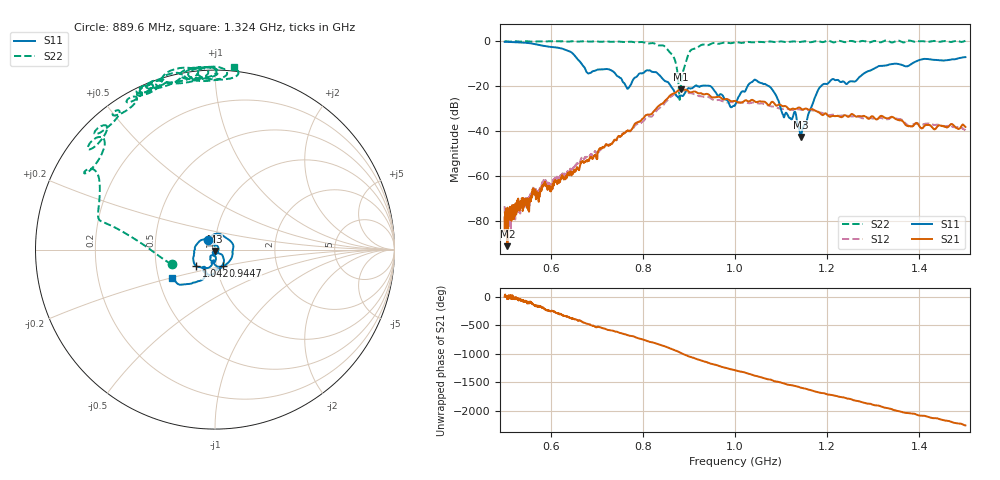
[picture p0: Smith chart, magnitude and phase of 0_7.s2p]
!Agilent Technologies,E8364B,US42250235,A.06.04.32
!Agilent E8364B: A.06.04.32
!Date: Thursday, October 01, 2020 15:44:59
!Correction: S11(Full 2 Port(1,2)) S21(Full 2 Port(1,2)) S12(Full 2 Port(1,2)) S22(Full 2 Port(1,2))
!S2P File: Measurements: S11, S21, S12, S22:
# Hz S  dB  R 50
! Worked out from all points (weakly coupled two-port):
!   2650 points, 500 MHz to 1.5 GHz, reference 50 ohm
!   highest |S21| = -21.20 dB at 882 MHz (marker M1); lowest = -91.1 dB at 506 MHz (marker M2)
!   lowest |S11| = -42.6 dB at 1.143 GHz (marker M3), VSWR 1.01, Z = 49.9 - j0.733 ohm
!   |S11| at or under -10 dB: 666.8 MHz to 1.343 GHz (676.6 MHz wide, 67.3 % of centre); 1.351 GHz to 1.383 GHz (32.48 MHz wide, 2.38 % of centre)
!   |S22| runs from -26.1 to 0.4 dB; largest |S21 - S12| = 0.037
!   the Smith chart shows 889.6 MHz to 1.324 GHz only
!   S11 on the Smith chart (normalised r, x): 889.6 MHz: 0.92, +0.10; 944.7 MHz: 1.07, -0.20; 1.042 GHz: 0.80, -0.15; 1.324 GHz: 0.59, -0.20
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5e8  -0.25 -175.0  -84.33 -2.6  -73.28 19.2  0.03 143.8
5.0604e8  -0.28 -178.2  -91.09 -20.1  -80.44 17.4  -0.06 144.9
6.140053e8  -2.78 111.4  -62.97 69.8  -61.03 65.5  -0.05 129.8
6.668554e8  -10.01 60.0  -53.76 -74.5  -52.00 -78.4  -0.04 125.4
7.302756e8  -12.81 60.9  -45.76 129.6  -45.24 118.5  -0.24 117.2
7.672707e8  -21.11 62.8  -39.69 44.1  -39.88 24.4  -0.26 107.2
8.337108e8  -14.66 -20.6  -28.87 -112.5  -30.07 -130.9  -1.81 84.7
8.642884e8  -20.93 -113.2  -23.39 157.9  -24.15 139.6  -6.12 42.8
8.82031e8  -24.14 161.1  -21.20 96.3  -21.77 75.9  -20.81 -117.4
8.89581e8  -23.65 127.1  -21.42 68.8  -21.93 45.8  -11.86 -161.3
9.06946e8  -20.89 44.3  -22.58 18.8  -23.23 -9.9  -3.58 165.7
9.446961e8  -19.81 -65.5  -24.01 -87.7  -25.02 -111.0  -1.46 136.7
1.000189e9  -28.39 -87.6  -26.52 150.5  -27.26 128.6  -0.50 124.7
1.041714e9  -17.17 -138.3  -26.54 59.1  -27.23 37.2  -0.43 116.2
1.078331e9  -20.80 143.5  -27.20 -13.5  -28.92 -44.9  -0.09 114.0
1.142884e9  -42.59 -98.0  -29.88 -153.3  -30.48 -169.7  -0.26 106.6
1.166667e9  -28.74 -40.1  -30.12 159.4  -30.71 141.2  -0.35 103.2
1.191204e9  -19.12 -76.6  -32.78 112.8  -31.98 93.2  -0.36 99.7
1.324085e9  -10.83 -146.7  -33.86 -140.0  -34.54 -142.2  0.19 84.1
1.333522e9  -10.39 -150.4  -34.15 -153.4  -34.60 -156.5  0.09 98.6
1.372405e9  -11.16 -169.7  -37.46 125.8  -36.87 117.9  0.01 75.8
1.5e9  -7.05 142.3  -38.05 -93.2  -39.52 -102.4  0.20 71.3
